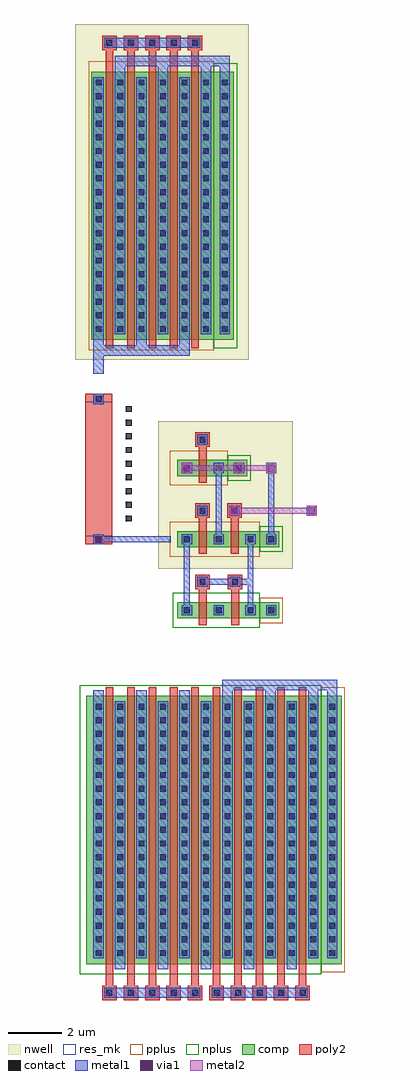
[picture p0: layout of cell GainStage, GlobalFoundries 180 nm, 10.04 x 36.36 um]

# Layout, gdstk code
import gdstk
lib = gdstk.Library(unit=1e-6, precision=1e-09)
def R(c, l, rs):  # rectangles x0, y0, x1, y1
    for r in rs: c.add(gdstk.rectangle(r[:2], r[2:], *l))
def A(c, l, x, y, w, h, nx, ny, dx, dy):  # array of equal rectangles
    R(c, l, [(x+i*dx, y+j*dy, x+i*dx+w, y+j*dy+h) for i in range(nx) for j in range(ny)])
nwell = (21, 0)
comp = (22, 0)
poly2 = (30, 0)
pplus = (31, 0)
nplus = (32, 0)
contact = (33, 0)
metal1 = (34, 0)
via1 = (35, 0)
metal2 = (36, 0)
res_mk = (110, 5)

gainstage = lib.new_cell('GainStage')
R(gainstage, nwell, [(7,-1.38,12,4.12), (3.9,6.41,10.371,18.91)])
R(gainstage, comp, [(4.32,-16.106,13.821,-6.105), (7.7,-3.23,11.5,-2.63), (7.7,-0.58,11.5,0.02), (7.7,2.07,10.3,2.67), (4.5,7.14,9.801,17.14)])
A(gainstage, poly2, 4.9, -17.446, 0.54, 0.54, 5, 2, 0.8, 35.386)
A(gainstage, poly2, 8.901, -17.446, 0.54, 0.54, 5, 1, 0.8, 0)
A(gainstage, poly2, 5.03, -16.906, 0.28, 11.101, 5, 1, 0.8, 0)
A(gainstage, poly2, 9.031, -16.906, 0.28, 11.101, 5, 1, 0.8, 0)
A(gainstage, poly2, 8.5, -3.48, 0.3, 1.34, 1, 3, 0, 2.65)
A(gainstage, poly2, 8.37, -2.14, 0.54, 0.54, 1, 3, 0, 2.65)
A(gainstage, poly2, 5.03, 6.84, 0.28, 11.1, 5, 1, 0.8, 0)
R(gainstage, poly2, [(9.71,-3.48,10.01,-2.14), (9.58,-2.14,10.12,-1.6), (9.69,-0.83,9.99,0.51), (4.27,-0.47,5.27,5.13), (9.56,0.51,10.1,1.05)])
R(gainstage, pplus, [(13.061,-16.406,13.941,-5.795), (10.775,-3.405,11.63,-2.455), (7.43,-0.93,10.78,0.37), (7.425,1.72,9.575,3.02), (4.41,6.765,9.061,17.515)])
R(gainstage, nplus, [(4.06,-16.481,13.061,-5.73), (7.525,-3.58,10.775,-2.28), (10.78,-0.75,11.635,0.2), (9.575,1.9,10.43,2.85), (9.061,6.83,9.941,17.44)])
A(gainstage, contact, 5.06, -17.286, 0.22, 0.22, 5, 2, 0.8, 35.386)
A(gainstage, contact, 9.061, -17.286, 0.22, 0.22, 5, 1, 0.8, 0)
A(gainstage, contact, 4.66, -15.806, 0.22, 0.22, 5, 5, 0.8, 0.51)
A(gainstage, contact, 8.66, -15.806, 0.221, 0.22, 1, 5, 0, 0.51)
A(gainstage, contact, 9.461, -15.806, 0.22, 0.22, 5, 5, 0.8, 0.51)
A(gainstage, contact, 13.361, -15.806, 0.22, 0.22, 1, 5, 0, 0.51)
A(gainstage, contact, 4.66, -13.256, 0.22, 0.221, 5, 1, 0.8, 0)
A(gainstage, contact, 9.461, -13.256, 0.22, 0.221, 5, 1, 0.8, 0)
A(gainstage, contact, 4.66, -12.745, 0.22, 0.22, 5, 13, 0.8, 0.51)
A(gainstage, contact, 8.66, -12.745, 0.221, 0.22, 1, 13, 0, 0.51)
A(gainstage, contact, 9.461, -12.745, 0.22, 0.22, 5, 13, 0.8, 0.51)
A(gainstage, contact, 13.361, -12.745, 0.22, 0.22, 1, 13, 0, 0.51)
A(gainstage, contact, 7.95, -3.04, 0.22, 0.22, 1, 3, 0, 2.65)
A(gainstage, contact, 9.14, -3.04, 0.22, 0.22, 1, 3, 0, 2.65)
A(gainstage, contact, 8.53, -1.98, 0.22, 0.22, 1, 3, 0, 2.65)
A(gainstage, contact, 5.79, 0.38, 0.22, 0.22, 1, 9, 0, 0.51)
A(gainstage, contact, 4.66, 7.44, 0.22, 0.22, 5, 19, 0.8, 0.51)
A(gainstage, contact, 8.66, 7.44, 0.221, 0.22, 1, 19, 0, 0.51)
A(gainstage, contact, 9.361, 7.44, 0.22, 0.22, 1, 19, 0, 0.51)
R(gainstage, contact, [(8.66,-13.256,8.881,-13.035), (13.361,-13.256,13.581,-13.035), (10.32,-3.04,10.54,-2.82), (11.09,-3.04,11.31,-2.82), (9.74,-1.98,9.96,-1.76), (4.66,-0.39,4.88,-0.17), (10.32,-0.39,10.54,-0.17), (11.09,-0.39,11.31,-0.17), (9.72,0.67,9.94,0.89), (9.89,2.26,10.11,2.48), (4.66,4.83,4.88,5.05)])
A(gainstage, metal1, 4.98, -17.366, 0.38, 0.38, 5, 2, 0.8, 35.386)
A(gainstage, metal1, 8.981, -17.366, 0.38, 0.38, 5, 1, 0.8, 0)
A(gainstage, metal1, 4.58, -15.886, 0.38, 9.561, 5, 1, 0.8, 0)
A(gainstage, metal1, 9.381, -15.886, 0.38, 9.561, 5, 1, 0.8, 0)
A(gainstage, metal1, 4.58, -6.325, 0.38, 0.42, 3, 2, 1.6, 13.265)
A(gainstage, metal1, 9.381, -6.325, 0.38, 0.42, 3, 1, 1.6, 0)
A(gainstage, metal1, 7.87, -3.12, 0.38, 0.38, 1, 3, 0, 2.65)
A(gainstage, metal1, 9.06, -3.12, 0.38, 0.38, 1, 3, 0, 2.65)
A(gainstage, metal1, 11.01, -3.12, 0.38, 0.38, 1, 3, 0, 2.65)
A(gainstage, metal1, 8.45, -2.06, 0.38, 0.38, 1, 3, 0, 2.65)
A(gainstage, metal1, 4.58, 7.36, 0.38, 9.56, 5, 1, 0.8, 0)
R(gainstage, metal1, [(4.98,-17.366,8.56,-16.986), (8.981,-17.366,12.561,-16.986), (5.38,-16.306,5.76,-15.886), (6.98,-16.306,7.36,-15.886), (8.58,-16.306,8.961,-15.886), (10.181,-16.306,10.561,-15.886), (11.781,-16.306,12.161,-15.886), (8.58,-15.886,8.961,-6.325), (13.281,-15.886,13.661,-6.325), (13.281,-6.325,13.661,-5.905), (9.381,-5.905,13.661,-5.525), (10.24,-3.12,10.62,-2.74), (7.95,-2.74,8.17,-0.47), (10.32,-2.74,10.54,-0.47), (9.66,-2.06,10.04,-1.68), (8.83,-1.98,9.66,-1.76), (10.04,-1.98,10.54,-1.76), (4.58,-0.47,4.96,-0.09), (10.24,-0.47,10.62,-0.09), (4.66,-0.39,7.455,-0.17), (9.14,-0.09,9.36,2.18), (11.09,-0.09,11.31,2.18), (9.64,0.59,10.02,0.97), (12.52,0.59,12.9,0.97), (9.81,2.18,10.19,2.56), (4.58,4.75,4.96,5.13), (4.58,5.88,4.96,6.56), (4.58,6.56,8.16,6.94), (8.58,7.36,8.961,16.92), (9.281,7.36,9.661,16.92), (5.38,16.92,5.76,17.34), (6.98,16.92,7.36,17.34), (8.58,16.92,8.961,17.34), (9.281,16.92,9.661,17.34), (5.38,17.34,9.661,17.72), (4.98,18.02,8.56,18.4)])
R(gainstage, via1, [(4.64,-0.41,4.9,-0.15), (9.7,0.65,9.96,0.91), (12.58,0.65,12.84,0.91), (7.93,2.24,8.19,2.5), (9.87,2.24,10.13,2.5), (11.07,2.24,11.33,2.5)])
R(gainstage, metal2, [(9.64,0.59,10.02,0.97), (12.52,0.59,12.9,0.97), (9.72,0.67,12.82,0.89), (7.87,2.18,8.25,2.56), (9.81,2.18,10.19,2.56), (11.01,2.18,11.39,2.56), (7.95,2.26,11.31,2.48)])
R(gainstage, res_mk, [(4.27,-0.17,5.27,4.83)])
gainstage.add(gdstk.Label('Output', (-0.404,-1.912), layer=34, texttype=10))
gainstage.add(gdstk.Label('VDD', (-2.598,0.036), layer=34, texttype=10))
gainstage.add(gdstk.Label('Input', (0.092,2.28), layer=34, texttype=10))
gainstage.add(gdstk.Label('CBias', (-0.09,2.28), layer=34, texttype=10))
gainstage.add(gdstk.Label('GND', (0.295,0), layer=34, texttype=10))
gainstage.add(gdstk.Label('LBias', (-2.413,2.134), layer=34, texttype=10))

lib.write_gds('GainStage.gds')
